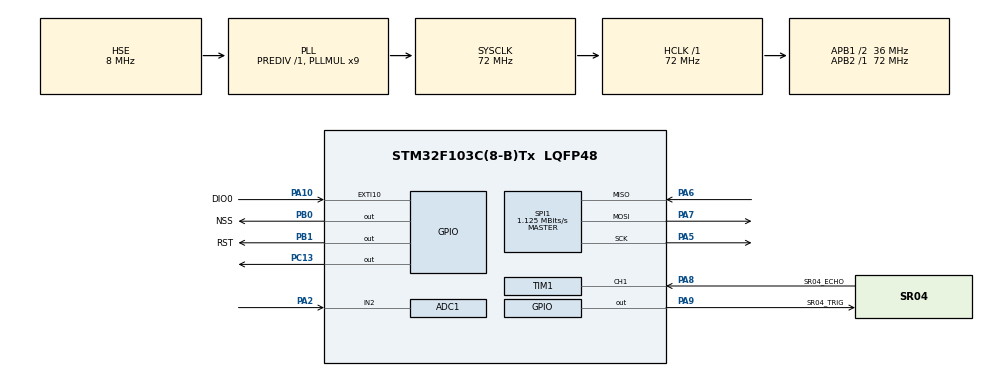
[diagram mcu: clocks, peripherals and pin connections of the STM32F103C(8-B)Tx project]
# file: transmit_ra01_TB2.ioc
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ADC1.Channel-2\#ChannelRegularConversion=ADC_CHANNEL_2
ADC1.ContinuousConvMode=ENABLE
ADC1.NbrOfConversionFlag=1
ADC1.Rank-2\#ChannelRegularConversion=1
ADC1.SamplingTime-2\#ChannelRegularConversion=ADC_SAMPLETIME_71CYCLES_5
ADC1.master=1
Dma.ADC1.0.Direction=DMA_PERIPH_TO_MEMORY
Dma.ADC1.0.Instance=DMA1_Channel1
Dma.ADC1.0.MemDataAlignment=DMA_MDATAALIGN_HALFWORD
Dma.ADC1.0.MemInc=DMA_MINC_ENABLE
Dma.ADC1.0.Mode=DMA_CIRCULAR
Dma.ADC1.0.PeriphDataAlignment=DMA_PDATAALIGN_HALFWORD
Dma.ADC1.0.PeriphInc=DMA_PINC_DISABLE
Dma.ADC1.0.Priority=DMA_PRIORITY_LOW
Dma.Request0=ADC1
Mcu.Family=STM32F1
Mcu.Name=STM32F103C(8-B)Tx
Mcu.Package=LQFP48
NVIC.DMA1_Channel1_IRQn=true\:2\:0\:true\:false\:true\:false\:true\:true
NVIC.EXTI15_10_IRQn=true\:4\:0\:true\:false\:true\:true\:true\:true
NVIC.PriorityGroup=NVIC_PRIORITYGROUP_4
NVIC.SPI1_IRQn=true\:4\:0\:true\:false\:true\:true\:true\:true
NVIC.TIM1_CC_IRQn=true\:0\:0\:true\:false\:true\:true\:true\:true
PA10.GPIO_Label=DIO0
PA10.Signal=GPXTI10
PA13.Mode=Serial_Wire
PA13.Signal=SYS_JTMS-SWDIO
PA14.Mode=Serial_Wire
PA14.Signal=SYS_JTCK-SWCLK
PA2.Signal=ADCx_IN2
PA5.Mode=Full_Duplex_Master
PA5.Signal=SPI1_SCK
PA6.Mode=Full_Duplex_Master
PA6.Signal=SPI1_MISO
PA7.Mode=Full_Duplex_Master
PA7.Signal=SPI1_MOSI
PA8.GPIO_Label=SR04_ECHO
PA8.Signal=S_TIM1_CH1
PA9.GPIO_Label=SR04_TRIG
PA9.Signal=GPIO_Output
PB0.GPIO_Label=NSS
PB0.PinState=GPIO_PIN_SET
PB0.Signal=GPIO_Output
PB1.GPIO_Label=RST
PB1.PinState=GPIO_PIN_SET
PB1.Signal=GPIO_Output
PC13-TAMPER-RTC.Signal=GPIO_Output
PD0-OSC_IN.Mode=HSE-External-Oscillator
PD0-OSC_IN.Signal=RCC_OSC_IN
PD1-OSC_OUT.Mode=HSE-External-Oscillator
PD1-OSC_OUT.Signal=RCC_OSC_OUT
ProjectManager.HeapSize=0x200
ProjectManager.StackSize=0x400
ProjectManager.TargetToolchain=MDK-ARM V5.32
RCC.ADCPresc=RCC_ADCPCLK2_DIV6
RCC.AHBFreq_Value=72000000
RCC.APB1CLKDivider=RCC_HCLK_DIV2
RCC.APB1Freq_Value=36000000
RCC.APB1TimFreq_Value=72000000
RCC.APB2Freq_Value=72000000
RCC.APB2TimFreq_Value=72000000
RCC.HCLKFreq_Value=72000000
RCC.PLLMUL=RCC_PLL_MUL9
RCC.PLLSourceVirtual=RCC_PLLSOURCE_HSE
RCC.SYSCLKFreq_VALUE=72000000
RCC.SYSCLKSource=RCC_SYSCLKSOURCE_PLLCLK
RCC.USBFreq_Value=72000000
SH.ADCx_IN2.0=ADC1_IN2,IN2
SH.S_TIM1_CH1.0=TIM1_CH1,Input_Capture1_from_TI1
SPI1.BaudRatePrescaler=SPI_BAUDRATEPRESCALER_64
SPI1.CalculateBaudRate=1.125 MBits/s
SPI1.Direction=SPI_DIRECTION_2LINES
SPI1.Mode=SPI_MODE_MASTER
SPI1.VirtualType=VM_MASTER
TIM1.Channel-Input_Capture1_from_TI1=TIM_CHANNEL_1
TIM1.Period=0xffff-1
TIM1.Prescaler=72-1
board=custom

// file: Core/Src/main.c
#include "main.h"
#include"Lora.h"
#include "cJSON.h"
#include <string.h>
#include <stdint.h>
#include <math.h>
#include <stdlib.h>
#include"stdio.h"

ADC_HandleTypeDef hadc1;
DMA_HandleTypeDef hdma_adc1;
SPI_HandleTypeDef hspi1;
TIM_HandleTypeDef htim1;

/* USER CODE BEGIN PV */
LoRa myLoRa;
#define TRIG_PIN          GPIO_PIN_9
#define TRIG_PORT         GPIOA
volatile uint32_t time_Val1 = 0;
volatile uint32_t time_Val2 = 0;
volatile uint32_t time_Width = 0;
volatile uint8_t flag_Fisrt_Captured = 0;
volatile uint32_t timer_ms = 0;
volatile uint8_t length  = 0;
uint32_t var = 0;
//uint8_t length1 = 0;
int length1 = 0;
int var1 = 0;

char JSON[100];
char Str_KC[100];
char Str_CL[100];
/* USER CODE END PV */

void SystemClock_Config(void);
static void MX_GPIO_Init(void);
static void MX_DMA_Init(void);
static void MX_SPI1_Init(void);
static void MX_TIM1_Init(void);
static void MX_ADC1_Init(void);

void delay_us(uint16_t time);
void delay_ms(uint16_t ms);
void HAL_TIM_PeriodElapsedCallback(TIM_HandleTypeDef *htim);
void DataJson1(unsigned int KC, unsigned int CL);
//void DataJson(unsigned int KC);

void delay_ms(uint16_t ms)
{
	while(ms--)
	{
	__HAL_TIM_SET_COUNTER(&htim1, 0);
	while (__HAL_TIM_GET_COUNTER (&htim1) < 1000);
	}
}

void delay_us(uint16_t time)
{
	__HAL_TIM_SET_COUNTER(&htim1, 0);
	while (__HAL_TIM_GET_COUNTER (&htim1) < time);
}

void HAL_TIM_IC_CaptureCallback(TIM_HandleTypeDef *htim)
{
	if( htim->Instance == TIM1 && htim->Channel == HAL_TIM_ACTIVE_CHANNEL_1) //interrupt source channel1
	{
		if (flag_Fisrt_Captured==0)
		{
			time_Val1 = HAL_TIM_ReadCapturedValue(htim, TIM_CHANNEL_1);
			flag_Fisrt_Captured = 1;
			__HAL_TIM_SET_CAPTUREPOLARITY(htim, TIM_CHANNEL_1, TIM_INPUTCHANNELPOLARITY_FALLING);
		}

		else if (flag_Fisrt_Captured==1)
		{
			time_Val2 = HAL_TIM_ReadCapturedValue(htim, TIM_CHANNEL_1);  // read second value
			__HAL_TIM_SET_COUNTER(htim, 0);  // reset the counter

			if (time_Val2 > time_Val1)
			{
				time_Width = time_Val2-time_Val1;
			}

			else if (time_Val1 > time_Val2)
			{
				time_Width = (0xffff - time_Val1) + time_Val2;
			}

			length = (uint8_t)(time_Width * 0.034/2);
			flag_Fisrt_Captured = 0; // set flag false

			__HAL_TIM_SET_CAPTUREPOLARITY(htim, TIM_CHANNEL_1, TIM_INPUTCHANNELPOLARITY_RISING);

		}
	}
}
void HCSR04_Read (void)
{
 	flag_Fisrt_Captured = 0;
	__HAL_TIM_SET_COUNTER(&htim1, 0);
	__HAL_TIM_ENABLE_IT(&htim1, TIM_IT_CC1);

	HAL_GPIO_WritePin(GPIOA, GPIO_PIN_9, GPIO_PIN_SET);  // pull the TRIG pin HIGH
	delay_us(10);
	HAL_GPIO_WritePin(GPIOA, GPIO_PIN_9, GPIO_PIN_RESET);  // pull the TRIG pin low
}

void DataJson1(unsigned int KC, unsigned int CL)
{

	for(int i = 0 ; i < 100; i++)
	{
		Str_KC[i] = 0;
	  Str_CL[i] = 0;
		JSON[i] = 0;
	}

	sprintf(Str_KC, "%d", KC);
	sprintf(Str_CL, "%d", CL);

	strcat(JSON,"{\"TB1\":\"");
	strcat(JSON,Str_KC);
	strcat(JSON,"\",");

	strcat(JSON,"\"CL\":\"");
	strcat(JSON,Str_CL);
	strcat(JSON,"\"}");

	strcat(JSON,"\r\n");

	//printf("DataJson: %s\n", JSON);

}

int main(void)
{

  HAL_Init();

	myLoRa.CS_port         = NSS_GPIO_Port;
	myLoRa.CS_pin          = NSS_Pin;
	myLoRa.reset_port      = RST_GPIO_Port;
	myLoRa.reset_pin       = RST_Pin;
	myLoRa.DIO0_port       = DIO0_GPIO_Port;
	myLoRa.DIO0_pin        = DIO0_Pin;
	myLoRa.hSPIx           = &hspi1;

  SystemClock_Config();

	myLoRa.frequency             = 440;             // default = 433 MHz
	myLoRa.spredingFactor        = SF_7;            // default = SF_7
	myLoRa.bandWidth             = BW_31_25KHz;      // default = BW_125KHz
	myLoRa.crcRate               = CR_4_5;          // default = CR_4_5
	myLoRa.power                 = POWER_20db;      // default = 20db
	myLoRa.overCurrentProtection = 130;             // default = 100 mA
	myLoRa.preamble              = 9;              // default = 8;

  /* Initialize all configured peripherals */
  MX_GPIO_Init();
  MX_DMA_Init();
  MX_SPI1_Init();
  MX_TIM1_Init();
  MX_ADC1_Init();
  /* USER CODE BEGIN 2 */
	HAL_ADC_Start_DMA(&hadc1,&var, 1);
	 HAL_TIM_IC_Start_IT(&htim1, TIM_CHANNEL_1);

  if (LoRa_init(&myLoRa) == LORA_OK)
  {
      HAL_GPIO_WritePin(GPIOC, GPIO_PIN_13, GPIO_PIN_RESET);
  }
  else
  {
      HAL_GPIO_WritePin(GPIOC, GPIO_PIN_13, GPIO_PIN_SET);
  }
  while (1)
  {
		HCSR04_Read();
		//HAL_ADC_Start_DMA(&hadc1,&var,1);
	//	HAL_ADC_Start(&hadc1);
	//	var = HAL_ADC_GetValue(&hadc1);
	//	HAL_ADC_Stop(&hadc1);
		float analogValue = (float)var; // Giá tr? ADC thô (0-4095)
float voltage = (analogValue / 4095.0) * 3.3; // Tính di?n áp (0-3.3V)
float tdsValue = (voltage * 0.5) * 1000; // T?m gi? công th?c c?a b?n
var1 = (int)tdsValue; // Chuy?n thành int d? g?i qua LoRa

 	  length1 = (int)length;

		DataJson1(length1,var1);
	//	DataJson1(var1 ,length1);
	//	DataJson(length1);

    if (length1 > 0)
		{
      LoRa_transmit(&myLoRa,  (uint8_t*)JSON, strlen(JSON), TRANSMIT_TIMEOUT);

      HAL_GPIO_TogglePin(GPIOC, GPIO_PIN_13);
			delay_ms(500);
		}

  }
  /* USER CODE END 3 */
}

void SystemClock_Config(void)
{
  RCC_OscInitTypeDef RCC_OscInitStruct = {0};
  RCC_ClkInitTypeDef RCC_ClkInitStruct = {0};
  RCC_PeriphCLKInitTypeDef PeriphClkInit = {0};

  /** Initializes the RCC Oscillators according to the specified parameters
  * in the RCC_OscInitTypeDef structure.
  */
  RCC_OscInitStruct.OscillatorType = RCC_OSCILLATORTYPE_HSE;
  RCC_OscInitStruct.HSEState = RCC_HSE_ON;
  RCC_OscInitStruct.HSEPredivValue = RCC_HSE_PREDIV_DIV1;
  RCC_OscInitStruct.HSIState = RCC_HSI_ON;
  RCC_OscInitStruct.PLL.PLLState = RCC_PLL_ON;
  RCC_OscInitStruct.PLL.PLLSource = RCC_PLLSOURCE_HSE;
  RCC_OscInitStruct.PLL.PLLMUL = RCC_PLL_MUL9;
  if (HAL_RCC_OscConfig(&RCC_OscInitStruct) != HAL_OK)
  {
    Error_Handler();
  }

  /** Initializes the CPU, AHB and APB buses clocks
  */
  RCC_ClkInitStruct.ClockType = RCC_CLOCKTYPE_HCLK|RCC_CLOCKTYPE_SYSCLK
                              |RCC_CLOCKTYPE_PCLK1|RCC_CLOCKTYPE_PCLK2;
  RCC_ClkInitStruct.SYSCLKSource = RCC_SYSCLKSOURCE_PLLCLK;
  RCC_ClkInitStruct.AHBCLKDivider = RCC_SYSCLK_DIV1;
  RCC_ClkInitStruct.APB1CLKDivider = RCC_HCLK_DIV2;
  RCC_ClkInitStruct.APB2CLKDivider = RCC_HCLK_DIV1;

  if (HAL_RCC_ClockConfig(&RCC_ClkInitStruct, FLASH_LATENCY_2) != HAL_OK)
  {
    Error_Handler();
  }
  PeriphClkInit.PeriphClockSelection = RCC_PERIPHCLK_ADC;
  PeriphClkInit.AdcClockSelection = RCC_ADCPCLK2_DIV6;
  if (HAL_RCCEx_PeriphCLKConfig(&PeriphClkInit) != HAL_OK)
  {
    Error_Handler();
  }
}

static void MX_ADC1_Init(void)
{

  ADC_ChannelConfTypeDef sConfig = {0};

  /** Common config
  */
  hadc1.Instance = ADC1;
  hadc1.Init.ScanConvMode = ADC_SCAN_DISABLE;
  hadc1.Init.ContinuousConvMode = ENABLE;
  hadc1.Init.DiscontinuousConvMode = DISABLE;
  hadc1.Init.ExternalTrigConv = ADC_SOFTWARE_START;
  hadc1.Init.DataAlign = ADC_DATAALIGN_RIGHT;
  hadc1.Init.NbrOfConversion = 1;
  if (HAL_ADC_Init(&hadc1) != HAL_OK)
  {
    Error_Handler();
  }

  /** Configure Regular Channel
  */
  sConfig.Channel = ADC_CHANNEL_2;
  sConfig.Rank = ADC_REGULAR_RANK_1;
  sConfig.SamplingTime = ADC_SAMPLETIME_71CYCLES_5;
  if (HAL_ADC_ConfigChannel(&hadc1, &sConfig) != HAL_OK)
  {
    Error_Handler();
  }

}

static void MX_SPI1_Init(void)
{

  /* SPI1 parameter configuration*/
  hspi1.Instance = SPI1;
  hspi1.Init.Mode = SPI_MODE_MASTER;
  hspi1.Init.Direction = SPI_DIRECTION_2LINES;
  hspi1.Init.DataSize = SPI_DATASIZE_8BIT;
  hspi1.Init.CLKPolarity = SPI_POLARITY_LOW;
  hspi1.Init.CLKPhase = SPI_PHASE_1EDGE;
  hspi1.Init.NSS = SPI_NSS_SOFT;
  hspi1.Init.BaudRatePrescaler = SPI_BAUDRATEPRESCALER_64;
  hspi1.Init.FirstBit = SPI_FIRSTBIT_MSB;
  hspi1.Init.TIMode = SPI_TIMODE_DISABLE;
  hspi1.Init.CRCCalculation = SPI_CRCCALCULATION_DISABLE;
  hspi1.Init.CRCPolynomial = 10;
  if (HAL_SPI_Init(&hspi1) != HAL_OK)
  {
    Error_Handler();
  }

}

static void MX_TIM1_Init(void)
{

  TIM_MasterConfigTypeDef sMasterConfig = {0};
  TIM_IC_InitTypeDef sConfigIC = {0};

  htim1.Instance = TIM1;
  htim1.Init.Prescaler = 72-1;
  htim1.Init.CounterMode = TIM_COUNTERMODE_UP;
  htim1.Init.Period = 0xffff-1;
  htim1.Init.ClockDivision = TIM_CLOCKDIVISION_DIV1;
  htim1.Init.RepetitionCounter = 0;
  htim1.Init.AutoReloadPreload = TIM_AUTORELOAD_PRELOAD_DISABLE;
  if (HAL_TIM_IC_Init(&htim1) != HAL_OK)
  {
    Error_Handler();
  }
  sMasterConfig.MasterOutputTrigger = TIM_TRGO_RESET;
  sMasterConfig.MasterSlaveMode = TIM_MASTERSLAVEMODE_DISABLE;
  if (HAL_TIMEx_MasterConfigSynchronization(&htim1, &sMasterConfig) != HAL_OK)
  {
    Error_Handler();
  }
  sConfigIC.ICPolarity = TIM_INPUTCHANNELPOLARITY_RISING;
  sConfigIC.ICSelection = TIM_ICSELECTION_DIRECTTI;
  sConfigIC.ICPrescaler = TIM_ICPSC_DIV1;
  sConfigIC.ICFilter = 0;
  if (HAL_TIM_IC_ConfigChannel(&htim1, &sConfigIC, TIM_CHANNEL_1) != HAL_OK)
  {
    Error_Handler();
  }

}

static void MX_DMA_Init(void)
{

  /* DMA controller clock enable */
  __HAL_RCC_DMA1_CLK_ENABLE();

  /* DMA interrupt init */
  /* DMA1_Channel1_IRQn interrupt configuration */
  HAL_NVIC_SetPriority(DMA1_Channel1_IRQn, 2, 0);
  HAL_NVIC_EnableIRQ(DMA1_Channel1_IRQn);

}

static void MX_GPIO_Init(void)
{
  GPIO_InitTypeDef GPIO_InitStruct = {0};

  /* GPIO Ports Clock Enable */
  __HAL_RCC_GPIOC_CLK_ENABLE();
  __HAL_RCC_GPIOD_CLK_ENABLE();
  __HAL_RCC_GPIOA_CLK_ENABLE();
  __HAL_RCC_GPIOB_CLK_ENABLE();

  /*Configure GPIO pin Output Level */
  HAL_GPIO_WritePin(GPIOC, GPIO_PIN_13, GPIO_PIN_RESET);

  /*Configure GPIO pin Output Level */
  HAL_GPIO_WritePin(GPIOB, NSS_Pin|RST_Pin, GPIO_PIN_SET);

  /*Configure GPIO pin Output Level */
  HAL_GPIO_WritePin(SR04_TRIG_GPIO_Port, SR04_TRIG_Pin, GPIO_PIN_RESET);

  /*Configure GPIO pin : PC13 */
  GPIO_InitStruct.Pin = GPIO_PIN_13;
  GPIO_InitStruct.Mode = GPIO_MODE_OUTPUT_PP;
  GPIO_InitStruct.Pull = GPIO_NOPULL;
  GPIO_InitStruct.Speed = GPIO_SPEED_FREQ_LOW;
  HAL_GPIO_Init(GPIOC, &GPIO_InitStruct);

  /*Configure GPIO pins : NSS_Pin RST_Pin */
  GPIO_InitStruct.Pin = NSS_Pin|RST_Pin;
  GPIO_InitStruct.Mode = GPIO_MODE_OUTPUT_PP;
  GPIO_InitStruct.Pull = GPIO_NOPULL;
  GPIO_InitStruct.Speed = GPIO_SPEED_FREQ_LOW;
  HAL_GPIO_Init(GPIOB, &GPIO_InitStruct);

  /*Configure GPIO pin : SR04_TRIG_Pin */
  GPIO_InitStruct.Pin = SR04_TRIG_Pin;
  GPIO_InitStruct.Mode = GPIO_MODE_OUTPUT_PP;
  GPIO_InitStruct.Pull = GPIO_NOPULL;
  GPIO_InitStruct.Speed = GPIO_SPEED_FREQ_LOW;
  HAL_GPIO_Init(SR04_TRIG_GPIO_Port, &GPIO_InitStruct);

  /*Configure GPIO pin : DIO0_Pin */
  GPIO_InitStruct.Pin = DIO0_Pin;
  GPIO_InitStruct.Mode = GPIO_MODE_IT_RISING;
  GPIO_InitStruct.Pull = GPIO_NOPULL;
  HAL_GPIO_Init(DIO0_GPIO_Port, &GPIO_InitStruct);

  /* EXTI interrupt init*/
  HAL_NVIC_SetPriority(EXTI15_10_IRQn, 4, 0);
  HAL_NVIC_EnableIRQ(EXTI15_10_IRQn);

}

void Error_Handler(void)
{
  __disable_irq();
  while (1)
  {
  }
}
